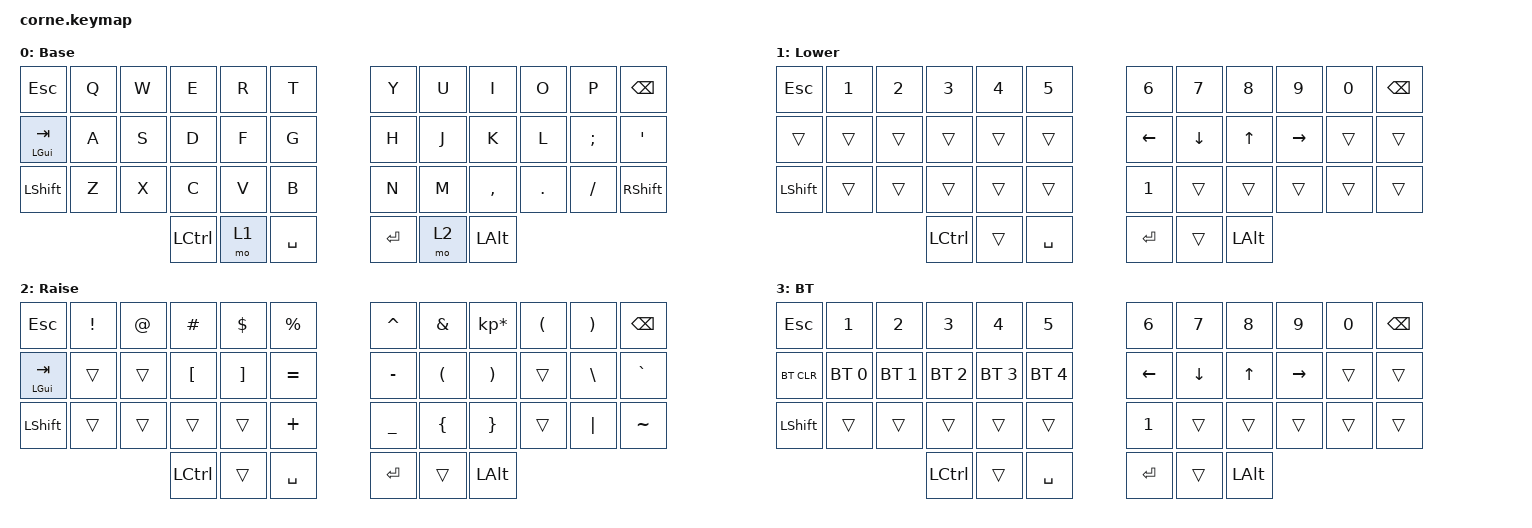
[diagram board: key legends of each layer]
/*
 * Copyright (c) 2020 The ZMK Contributors
 *
 * SPDX-License-Identifier: MIT
 */

#include <behaviors.dtsi>
#include <dt-bindings/zmk/bt.h>
#include <dt-bindings/zmk/keys.h>

/ {
    combos { compatible = "zmk,combos"; };

    keymap {
        compatible = "zmk,keymap";

        default_layer {
            // -----------------------------------------------------------------------------------------
            // |  TAB |  Q  |  W  |  E  |  R  |  T  |   |  Y  |  U   |  I  |  O  |  P  | BKSP |
            // | CTRL |  A  |  S  |  D  |  F  |  G  |   |  H  |  J   |  K  |  L  |  ;  |  '   |
            // | SHFT |  Z  |  X  |  C  |  V  |  B  |   |  N  |  M   |  ,  |  .  |  /  | ESC  |
            //                    | GUI | LWR | SPC |   | ENT | RSE  | ALT |

            display-name = "Base";
            bindings = <
&kp ESCAPE  &kp Q  &kp W  &kp E             &kp R  &kp T        &kp Y    &kp U  &kp I             &kp O    &kp P     &kp BSPC
&mt LGUI TAB     &kp A  &kp S  &kp D             &kp F  &kp G        &kp H    &kp J  &kp K             &kp L    &kp SEMI  &kp SQT
&kp LSHFT   &kp Z  &kp X  &kp C             &kp V  &kp B        &kp N    &kp M  &kp COMMA         &kp DOT  &kp FSLH  &kp RIGHT_SHIFT
                          &kp LEFT_CONTROL  &mo 1  &kp SPACE    &kp RET  &mo 2  &kp LEFT_ALT
            >;
        };

        lower_layer {
            // -----------------------------------------------------------------------------------------
            // |  TAB |  1  |  2  |  3  |  4  |  5  |   |  6  |  7  |  8  |  9  |  0  | BKSP |
            // | BTCLR| BT1 | BT2 | BT3 | BT4 | BT5 |   | LFT | DWN |  UP | RGT |     |      |
            // | SHFT |     |     |     |     |     |   |     |     |     |     |     |      |
            //                    | GUI |     | SPC |   | ENT |     | ALT |

            display-name = "Lower";
            bindings = <
&kp ESCAPE  &kp N1  &kp N2  &kp N3            &kp N4  &kp N5       &kp N6        &kp N7    &kp N8            &kp N9     &kp N0  &kp BSPC
&trans      &trans  &trans  &trans            &trans  &trans       &kp LEFT      &kp DOWN  &kp UP            &kp RIGHT  &trans  &trans
&kp LSHFT   &trans  &trans  &trans            &trans  &trans       &kp NUMBER_1  &trans    &trans            &trans     &trans  &trans
                            &kp LEFT_CONTROL  &trans  &kp SPACE    &kp RET       &trans    &kp LEFT_ALT
            >;
        };

        raise_layer {
            // -----------------------------------------------------------------------------------------
            // |  TAB |  !  |  @  |  #  |  $  |  %  |   |  ^  |  &  |  *  |  (  |  )  | BKSP |
            // | CTRL |     |     |     |     |     |   |  -  |  =  |  [  |  ]  |  \  |  `   |
            // | SHFT |     |     |     |     |     |   |  _  |  +  |  {  |  }  | "|" |  ~   |
            //                    | GUI |     | SPC |   | ENT |     | ALT |

            display-name = "Raise";
            bindings = <
&kp ESCAPE  &kp EXCL  &kp AT  &kp HASH          &kp DLLR           &kp PRCNT    &kp CARET  &kp AMPS              &kp KP_MULTIPLY        &kp LPAR  &kp RPAR  &kp BSPC
&mt LGUI TAB     &trans    &trans  &kp LEFT_BRACKET  &kp RIGHT_BRACKET  &kp EQUAL    &kp MINUS  &kp LEFT_PARENTHESIS  &kp RIGHT_PARENTHESIS  &trans    &kp BSLH  &kp GRAVE
&kp LSHFT   &trans    &trans  &trans            &trans             &kp PLUS     &kp UNDER  &kp LEFT_BRACE        &kp RIGHT_BRACE        &trans    &kp PIPE  &kp TILDE
                              &kp LEFT_CONTROL  &trans             &kp SPACE    &kp RET    &trans                &kp LEFT_ALT
            >;
        };

        bt_layer {
            display-name = "BT";
            bindings = <
&kp ESCAPE  &kp N1        &kp N2        &kp N3            &kp N4        &kp N5          &kp N6        &kp N7    &kp N8            &kp N9     &kp N0  &kp BSPC
&bt BT_CLR  &bt BT_SEL 0  &bt BT_SEL 1  &bt BT_SEL 2      &bt BT_SEL 3  &bt BT_SEL 4    &kp LEFT      &kp DOWN  &kp UP            &kp RIGHT  &trans  &trans
&kp LSHFT   &trans        &trans        &trans            &trans        &trans          &kp NUMBER_1  &trans    &trans            &trans     &trans  &trans
                                        &kp LEFT_CONTROL  &trans        &kp SPACE       &kp RET       &trans    &kp LEFT_ALT
            >;
        };

        extra_1 { status = "reserved"; };

        extra_2 { status = "reserved"; };
    };

    conditional_layers {
        compatible = "zmk,conditional-layers";

        bt_layer {
            if-layers = <1 2>;
            then-layer = <3>;
        };
    };
};
